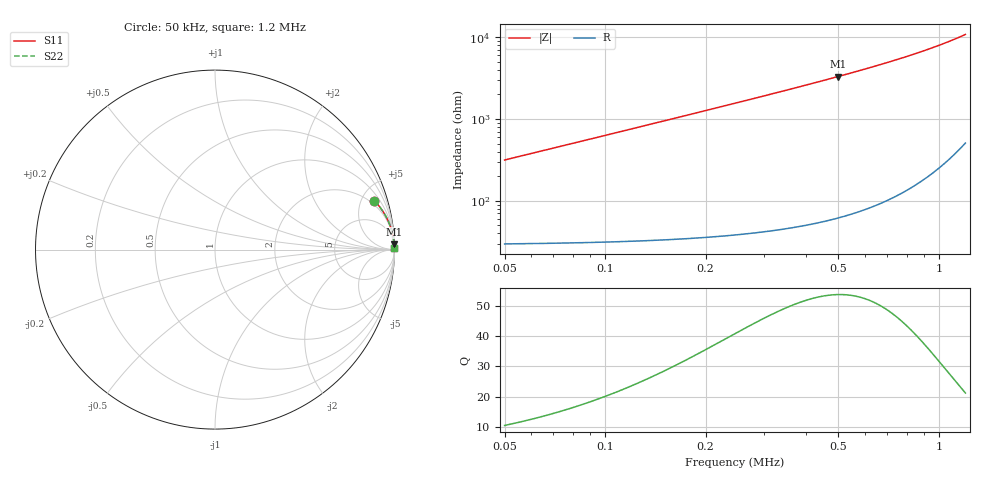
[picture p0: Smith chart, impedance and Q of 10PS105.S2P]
! Coilcraft 1008PS-105 Power Chip Inductor
! 7 October 2002
# MHZ S MA R 50
!Freq  MagS11  AngS11  MagS21  AngS21  MagS12  AngS12  MagS22  AngS22
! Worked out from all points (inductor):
!   402 points, 50 kHz to 1.2 MHz, reference 50 ohm
!   read as one part in series: L = 1 mH near 55.74 kHz
!   highest Q = 53.6 at 497.7 kHz (marker M1), where L = 1.05 mH
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0.05  0.9284 17.0  0.2943 -67.6  0.2943 -67.6  0.9284 17.0
0.05574  0.941 15.5  0.2678 -69.7  0.2678 -69.7  0.941 15.5
0.06722  0.9581 13.0  0.2263 -72.9  0.2263 -72.9  0.9581 13.0
0.07583  0.9665 11.7  0.2024 -74.7  0.2024 -74.7  0.9665 11.7
0.08731  0.9743 10.2  0.1772 -76.6  0.1772 -76.6  0.9743 10.2
0.1074  0.9826 8.3  0.1453 -79.0  0.1453 -79.0  0.9826 8.3
0.12749  0.9875 7.1  0.1229 -80.6  0.1229 -80.6  0.9875 7.1
0.15332  0.9912 5.9  0.1024 -82.1  0.1024 -82.1  0.9912 5.9
0.17915  0.9935 5.0  0.08771 -83.2  0.08771 -83.2  0.9935 5.0
0.20785  0.9951 4.3  0.07555 -84.1  0.07555 -84.1  0.9951 4.3
0.24229  0.9963 3.7  0.06468 -84.9  0.06468 -84.9  0.9963 3.7
0.28247  0.9972 3.2  0.05528 -85.5  0.05528 -85.5  0.9972 3.2
0.32839  0.9979 2.7  0.0473 -86.1  0.0473 -86.1  0.9979 2.7
0.38005  0.9984 2.3  0.04057 -86.6  0.04057 -86.6  0.9984 2.3
0.43458  0.9987 2.0  0.03515 -86.9  0.03515 -86.9  0.9987 2.0
0.49772  0.999 1.7  0.0303 -87.2  0.0303 -87.2  0.999 1.7
0.55799  0.9991 1.5  0.02665 -87.4  0.02665 -87.4  0.9991 1.5
0.62687  0.9993 1.3  0.02329 -87.6  0.02329 -87.6  0.9993 1.3
0.71584  0.9994 1.1  0.01984 -87.7  0.01984 -87.7  0.9994 1.1
0.81916  0.9995 1.0  0.01669 -87.7  0.01669 -87.7  0.9995 1.0
1.00858  0.9995 0.7  0.01241 -87.5  0.01241 -87.5  0.9995 0.7
1.2  0.9995 0.5  0.009254 -86.8  0.009254 -86.8  0.9995 0.5
